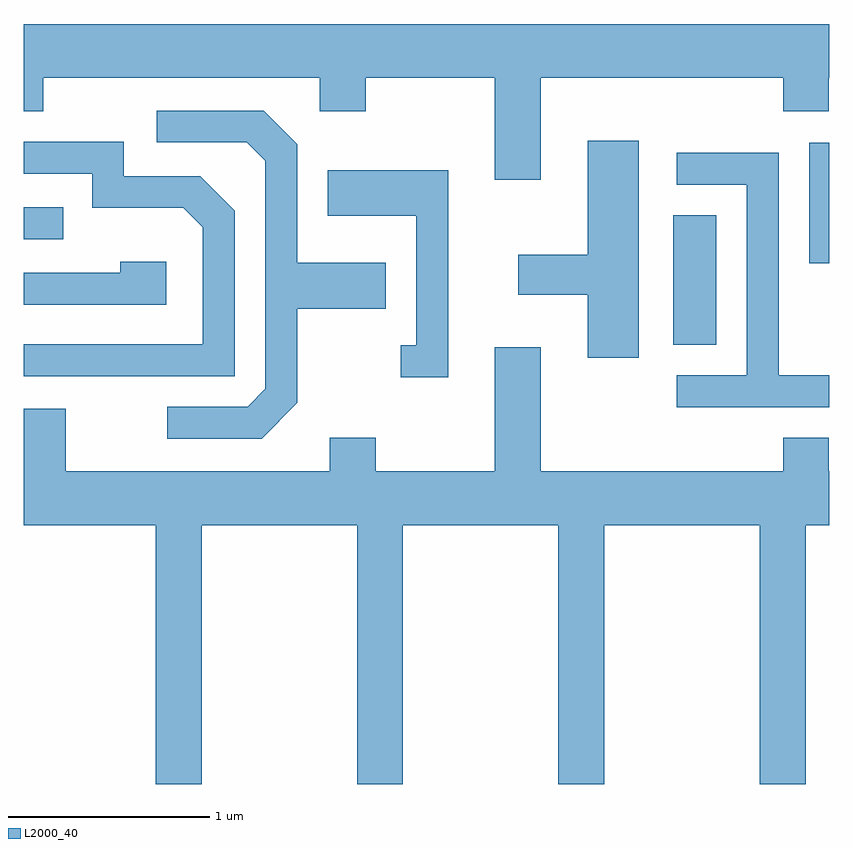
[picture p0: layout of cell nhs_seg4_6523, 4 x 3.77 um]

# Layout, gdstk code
import gdstk
lib = gdstk.Library(unit=1e-6, precision=1e-09)
def R(c, l, rs):  # rectangles x0, y0, x1, y1
    for r in rs: c.add(gdstk.rectangle(r[:2], r[2:], *l))
def P(c, l, *ps):  # polygons
    for p in ps: c.add(gdstk.Polygon(p, *l))
L2000_40 = (2000, 40)

nhs_seg4_6523 = lib.new_cell('nhs_seg4_6523')
R(nhs_seg4_6523, L2000_40, [(378.836,1382.211,379.049,1382.854), (379.511,1382.616,379.611,1383.214), (375.611,1382.736,375.808,1382.894)])
P(nhs_seg4_6523, L2000_40, [(378.179,1383.536),(379.381,1383.536),(379.381,1383.371),(379.609,1383.371),(379.609,1383.536),(379.611,1383.536),(379.611,1383.804),(375.611,1383.804),(375.611,1383.371),(375.709,1383.371),(375.709,1383.536),(377.081,1383.536),(377.081,1383.371),(377.309,1383.371),(377.309,1383.536),(377.951,1383.536),(377.951,1383.031),(378.179,1383.031)],
  [(376.969,1381.924),(376.969,1382.391),(377.409,1382.391),(377.409,1382.619),(376.969,1382.619),(376.969,1383.207),(376.802,1383.374),(376.273,1383.374),(376.273,1383.216),(376.719,1383.216),(376.811,1383.124),(376.811,1381.992),(376.724,1381.904),(376.323,1381.904),(376.323,1381.746),(376.792,1381.746)],
  [(378.664,1383.224),(378.411,1383.224),(378.411,1382.659),(378.066,1382.659),(378.066,1382.461),(378.411,1382.461),(378.411,1382.146),(378.664,1382.146)],
  [(376.659,1382.877),(376.487,1383.049),(376.109,1383.049),(376.109,1383.219),(375.611,1383.219),(375.611,1383.061),(375.951,1383.061),(375.951,1382.891),(376.404,1382.891),(376.501,1382.794),(376.501,1382.214),(375.611,1382.214),(375.611,1382.056),(376.659,1382.056)],
  [(379.611,1382.059),(379.359,1382.059),(379.359,1383.164),(378.853,1383.164),(378.853,1383.006),(379.201,1383.006),(379.201,1382.059),(378.853,1382.059),(378.853,1381.901),(379.611,1381.901)],
  [(377.719,1383.079),(377.121,1383.079),(377.121,1382.851),(377.561,1382.851),(377.561,1382.209),(377.483,1382.209),(377.483,1382.051),(377.719,1382.051)],
  [(376.319,1382.624),(376.091,1382.624),(376.091,1382.569),(375.611,1382.569),(375.611,1382.411),(376.319,1382.411)],
  [(376.494,1381.316),(377.266,1381.316),(377.266,1380.031),(377.494,1380.031),(377.494,1381.316),(378.266,1381.316),(378.266,1380.031),(378.494,1380.031),(378.494,1381.316),(379.266,1381.316),(379.266,1380.031),(379.494,1380.031),(379.494,1381.316),(379.611,1381.316),(379.611,1381.584),(379.609,1381.584),(379.609,1381.749),(379.381,1381.749),(379.381,1381.584),(378.179,1381.584),(378.179,1382.199),(377.951,1382.199),(377.951,1381.584),(377.359,1381.584),(377.359,1381.749),(377.131,1381.749),(377.131,1381.584),(375.819,1381.584),(375.819,1381.894),(375.611,1381.894),(375.611,1381.316),(376.266,1381.316),(376.266,1380.031),(376.494,1380.031)])

lib.write_gds('nhs_seg4_6523.gds')
